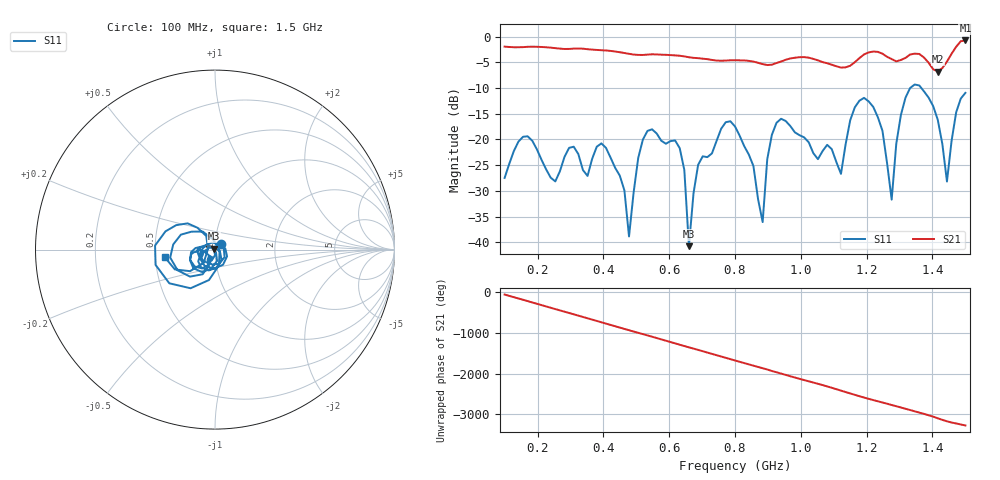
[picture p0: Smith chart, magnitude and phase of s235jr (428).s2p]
! NanoVNA-App
! Date: 2025-09-25 15:07:29
! Start: 100MHz Stop: 1,5GHz Points: 101
! S-Parameter data: F S11 S21 S12 S22
# Hz S RI R 50
!  Frequency  S11_Real  S11_Imag  S21_Real  S21_Imag  S12_Real  S12_Imag  S22_Real  S22_Imag
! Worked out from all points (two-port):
!   101 points, 100 MHz to 1.5 GHz, reference 50 ohm
!   highest |S21| = -0.77 dB at 1.5 GHz (marker M1); lowest = -6.8 dB at 1.416 GHz (marker M2)
!   |S21| within 3 dB of the highest: start of sweep to 635 MHz; 1.186 GHz to 1.258 GHz (71.57 MHz wide, 5.86 % of centre) (the widest 2 of 4)
!   lowest |S11| = -40.7 dB at 660 MHz (marker M3), VSWR 1.02, Z = 49.3 + j0.533 ohm
!   |S11| at or under -10 dB: start of sweep to 1.332 GHz; 1.366 GHz to end of sweep
!   S12 and S22 are empty: the file has one direction only
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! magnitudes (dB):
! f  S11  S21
! 100 MHz  -27.5  -2.0
! 170 MHz  -19.4  -2.0
! 338 MHz  -25.9  -2.4
! 408 MHz  -21.6  -2.7
! 478 MHz  -38.8  -3.4
! 520 MHz  -20.0  -3.6
! 576 MHz  -20.2  -3.5
! 632 MHz  -21.7  -3.7
! 660 MHz  -40.7  -4.0
! 688 MHz  -24.9  -4.2
! 800 MHz  -17.5  -4.6
! 884 MHz  -36.0  -5.4
! 926 MHz  -16.8  -5.2
! 1.038 GHz  -22.7  -4.3
! 1.122 GHz  -26.7  -6.0
! 1.192 GHz  -11.9  -3.5
! 1.248 GHz  -18.3  -3.3
! 1.276 GHz  -31.7  -4.4
! 1.332 GHz  -10.0  -3.5
! 1.416 GHz  -16.2  -6.8
! 1.444 GHz  -28.2  -4.9
! 1.5 GHz  -10.9  -0.8
